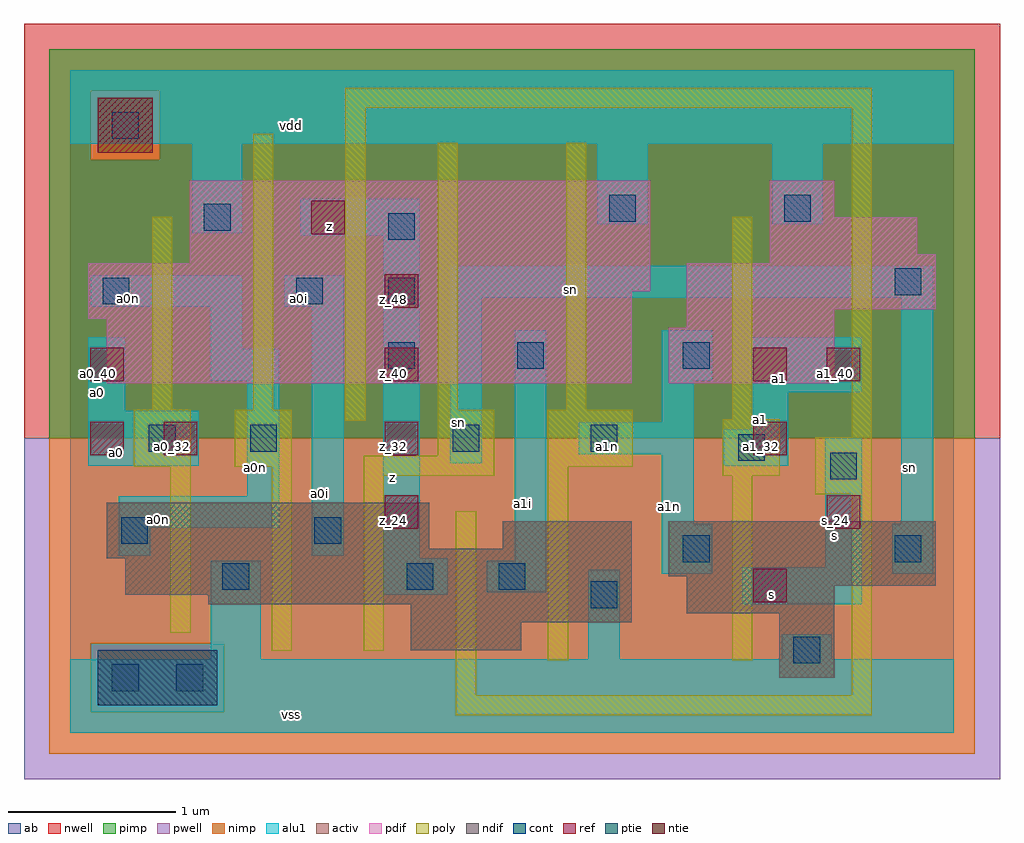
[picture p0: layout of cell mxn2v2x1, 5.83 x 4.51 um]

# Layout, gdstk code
import gdstk
lib = gdstk.Library(unit=1e-6, precision=2.5e-09)
def R(c, l, rs):  # rectangles x0, y0, x1, y1
    for r in rs: c.add(gdstk.rectangle(r[:2], r[2:], *l))
def A(c, l, x, y, w, h, nx, ny, dx, dy):  # array of equal rectangles
    R(c, l, [(x+i*dx, y+j*dy, x+i*dx+w, y+j*dy+h) for i in range(nx) for j in range(ny)])
ndif = (3, 0)
pdif = (4, 0)
ntie = (5, 0)
ptie = (6, 0)
ref = (24, 0)
cont = (25, 0)
pwell = (41, 0)
nwell = (42, 0)
activ = (43, 0)
pimp = (44, 0)
nimp = (45, 0)
poly = (46, 0)
alu1 = (49, 0)
ab = (63, 0)

mxn2v2x1 = lib.new_cell('mxn2v2x1')
R(mxn2v2x1, ndif, [(4.235,0.33,4.565,0.715), (2.035,0.495,2.695,0.66), (2.035,0.66,3.355,0.77), (3.685,0.715,4.565,0.88), (0.825,0.77,3.355,0.825), (0.33,0.825,3.355,1.045), (3.685,0.88,5.17,0.935), (3.575,0.935,5.17,1.265), (0.22,1.045,3.355,1.1), (0.22,1.1,2.145,1.375), (2.585,1.1,3.355,1.265)])
R(mxn2v2x1, pdif, [(0.22,2.09,3.355,2.475), (3.575,2.09,4.565,2.42), (3.685,2.42,4.565,2.53), (0.11,2.475,3.355,2.64), (3.685,2.53,5.17,2.805), (0.11,2.64,3.465,2.805), (0.715,2.805,3.465,3.3), (4.18,2.805,5.17,2.86), (4.18,2.86,5.06,3.08), (4.18,3.08,4.565,3.3)])
R(mxn2v2x1, ntie, [(0.165,3.465,0.495,3.795)])
R(mxn2v2x1, ptie, [(0.165,0.165,0.88,0.495)])
A(mxn2v2x1, ref, 1.88, 1.22, 0.2, 0.2, 1, 4, 0, 0.44)
R(mxn2v2x1, ref, [(4.08,0.78,4.28,0.98), (4.52,1.22,4.72,1.42), (0.12,1.66,0.32,1.86), (0.56,1.66,0.76,1.86), (4.08,1.66,4.28,1.86), (0.12,2.1,0.32,2.3), (4.08,2.1,4.28,2.3), (4.52,2.1,4.72,2.3), (1.44,2.98,1.64,3.18)])
A(mxn2v2x1, cont, 1.9, 2.175, 0.16, 0.16, 1, 3, 0, 0.385)
R(mxn2v2x1, cont, [(0.25,0.25,0.41,0.41), (0.635,0.25,0.795,0.41), (4.32,0.415,4.48,0.575), (3.11,0.745,3.27,0.905), (0.91,0.855,1.07,1.015), (2.01,0.855,2.17,1.015), (2.56,0.855,2.72,1.015), (3.66,1.02,3.82,1.18), (4.925,1.02,5.085,1.18), (0.305,1.13,0.465,1.29), (1.46,1.13,1.62,1.29), (4.54,1.515,4.7,1.675), (3.99,1.625,4.15,1.785), (0.47,1.68,0.63,1.84), (1.075,1.68,1.235,1.84), (2.285,1.68,2.445,1.84), (3.11,1.68,3.27,1.84), (2.67,2.175,2.83,2.335), (3.66,2.175,3.82,2.335), (0.195,2.56,0.355,2.72), (1.35,2.56,1.51,2.72), (4.925,2.615,5.085,2.775), (0.8,3,0.96,3.16), (3.22,3.055,3.38,3.215), (4.265,3.055,4.425,3.215), (0.25,3.55,0.41,3.71)])
R(mxn2v2x1, pwell, [(-0.275,-0.275,5.555,1.76)])
R(mxn2v2x1, nwell, [(-0.275,1.76,5.555,4.235)])
R(mxn2v2x1, activ, [(0.165,0.165,0.88,0.495), (4.235,0.33,4.565,0.715), (2.035,0.495,2.695,0.66), (2.035,0.66,3.355,0.77), (3.685,0.715,4.565,0.88), (0.825,0.77,3.355,0.825), (0.33,0.825,3.355,1.045), (3.685,0.88,5.17,0.935), (3.575,0.935,5.17,1.265), (0.22,1.045,3.355,1.1), (0.22,1.1,2.145,1.375), (2.585,1.1,3.355,1.265), (0.22,2.09,3.355,2.475), (3.575,2.09,4.565,2.42), (3.685,2.42,4.565,2.53), (0.11,2.475,3.355,2.64), (3.685,2.53,5.17,2.805), (0.11,2.64,3.465,2.805), (0.715,2.805,3.465,3.3), (4.18,2.805,5.17,2.86), (4.18,2.86,5.06,3.08), (4.18,3.08,4.565,3.3), (0.165,3.465,0.495,3.795)])
R(mxn2v2x1, pimp, [(0.125,0.125,0.92,0.535), (-0.125,1.76,5.405,3.425), (-0.125,3.425,0.125,3.835), (0.535,3.425,5.405,3.835), (-0.125,3.835,5.405,4.085)])
R(mxn2v2x1, nimp, [(-0.125,-0.125,5.405,0.125), (-0.125,0.125,0.125,0.535), (0.92,0.125,5.405,0.535), (-0.125,0.535,5.405,1.76), (0.125,3.425,0.535,3.835)])
R(mxn2v2x1, poly, [(2.305,0.105,4.79,0.225), (2.305,0.225,2.425,1.325), (4.67,0.225,4.79,1.425), (2.855,0.435,2.975,1.59), (3.955,0.435,4.075,1.535), (1.205,0.49,1.325,1.59), (1.755,0.49,1.875,1.535), (0.6,0.6,0.72,1.59), (4.45,1.425,4.79,1.765), (1.755,1.535,2.535,1.655), (3.9,1.535,4.24,1.875), (0.38,1.59,0.72,1.93), (0.985,1.59,1.325,1.93), (2.855,1.59,3.36,1.93), (2.195,1.655,2.535,1.93), (4.67,1.765,4.79,3.735), (1.645,1.865,1.765,3.735), (3.955,1.875,4.075,3.085), (0.49,1.93,0.61,3.085), (1.095,1.93,1.215,3.58), (2.195,1.93,2.315,3.525), (2.965,1.93,3.085,3.525), (1.645,3.735,4.79,3.855)])
R(mxn2v2x1, alu1, [(0,0,5.28,0.44), (0.84,0.44,1.14,1.03), (3.095,0.44,3.285,0.975), (4.25,0.44,4.55,0.59), (4.015,0.77,4.73,0.99), (1.87,0.825,2.255,1.045), (2.49,0.84,2.845,1.03), (3.535,0.95,3.835,1.25), (4.91,0.95,5.155,1.25), (4.51,0.99,4.73,1.76), (2.655,1.03,2.845,2.405), (1.87,1.045,2.09,2.97), (0.29,1.06,0.48,1.225), (1.445,1.06,1.635,2.545), (0.29,1.225,1.25,1.415), (3.535,1.25,3.725,1.665), (4.965,1.25,5.155,2.6), (1.06,1.415,1.25,2.105), (0.11,1.595,0.77,1.925), (3.905,1.595,4.29,1.815), (2.27,1.61,2.46,2.6), (3.04,1.665,3.725,1.855), (4.07,1.815,4.29,2.035), (3.535,1.855,3.725,2.105), (0.11,1.925,0.33,2.365), (4.07,2.035,4.73,2.365), (0.84,2.105,1.25,2.295), (3.535,2.105,3.835,2.405), (0.84,2.295,1.03,2.545), (0.125,2.545,1.03,2.735), (1.28,2.545,1.635,2.735), (2.27,2.6,5.155,2.79), (1.375,2.97,2.09,3.19), (0.73,2.985,1.03,3.52), (3.15,3.04,3.45,3.52), (4.195,3.04,4.495,3.52), (0,3.52,5.28,3.96)])
R(mxn2v2x1, ab, [(0,0,5.28,3.96)])
mxn2v2x1.add(gdstk.Label('vss', (1.32,0.11), layer=49, texttype=0))
mxn2v2x1.add(gdstk.Label('s', (4.1925,0.825), layer=49, texttype=0))
mxn2v2x1.add(gdstk.Label('sn', (5.0125,1.5875), layer=49, texttype=0))
mxn2v2x1.add(gdstk.Label('s', (4.565,1.1825), layer=49, texttype=0))
mxn2v2x1.add(gdstk.Label('a1n', (3.5825,1.3525), layer=49, texttype=0))
mxn2v2x1.add(gdstk.Label('a1', (4.125,1.87), layer=49, texttype=0))
mxn2v2x1.add(gdstk.Label('a1', (4.235,2.1175), layer=49, texttype=0))
mxn2v2x1.add(gdstk.Label('a1n', (3.21,1.7125), layer=49, texttype=0))
mxn2v2x1.add(gdstk.Label('a1i', (2.7025,1.3725), layer=49, texttype=0))
mxn2v2x1.add(gdstk.Label('sn', (2.3175,1.8575), layer=49, texttype=0))
mxn2v2x1.add(gdstk.Label('sn', (2.99,2.6475), layer=49, texttype=0))
mxn2v2x1.add(gdstk.Label('z', (1.925,1.525), layer=49, texttype=0))
mxn2v2x1.add(gdstk.Label('a0i', (1.4925,1.43), layer=49, texttype=0))
mxn2v2x1.add(gdstk.Label('a0n', (0.53,1.2725), layer=49, texttype=0))
mxn2v2x1.add(gdstk.Label('a0n', (1.1075,1.5875), layer=49, texttype=0))
mxn2v2x1.add(gdstk.Label('a0', (0.275,1.6775), layer=49, texttype=0))
mxn2v2x1.add(gdstk.Label('a0', (0.165,2.035), layer=49, texttype=0))
mxn2v2x1.add(gdstk.Label('a0i', (1.3675,2.5925), layer=49, texttype=0))
mxn2v2x1.add(gdstk.Label('a0n', (0.35,2.5925), layer=49, texttype=0))
mxn2v2x1.add(gdstk.Label('z', (1.5525,3.025), layer=49, texttype=0))
mxn2v2x1.add(gdstk.Label('vdd', (1.32,3.63), layer=49, texttype=0))
mxn2v2x1.add(gdstk.Label('z_56', (1.49,3.03), layer=24, texttype=0))
mxn2v2x1.add(gdstk.Label('a0_40', (0.17,2.15), layer=24, texttype=0))
mxn2v2x1.add(gdstk.Label('a0_32', (0.17,1.71), layer=24, texttype=0))
mxn2v2x1.add(gdstk.Label('a0_32', (0.61,1.71), layer=24, texttype=0))
mxn2v2x1.add(gdstk.Label('z_32', (1.93,1.71), layer=24, texttype=0))
mxn2v2x1.add(gdstk.Label('z_24', (1.93,1.27), layer=24, texttype=0))
mxn2v2x1.add(gdstk.Label('z_40', (1.93,2.15), layer=24, texttype=0))
mxn2v2x1.add(gdstk.Label('z_48', (1.93,2.59), layer=24, texttype=0))
mxn2v2x1.add(gdstk.Label('s_16', (4.13,0.83), layer=24, texttype=0))
mxn2v2x1.add(gdstk.Label('s_24', (4.57,1.27), layer=24, texttype=0))
mxn2v2x1.add(gdstk.Label('a1_32', (4.13,1.71), layer=24, texttype=0))
mxn2v2x1.add(gdstk.Label('a1_40', (4.13,2.15), layer=24, texttype=0))
mxn2v2x1.add(gdstk.Label('a1_40', (4.57,2.15), layer=24, texttype=0))

lib.write_gds('mxn2v2x1.gds')
